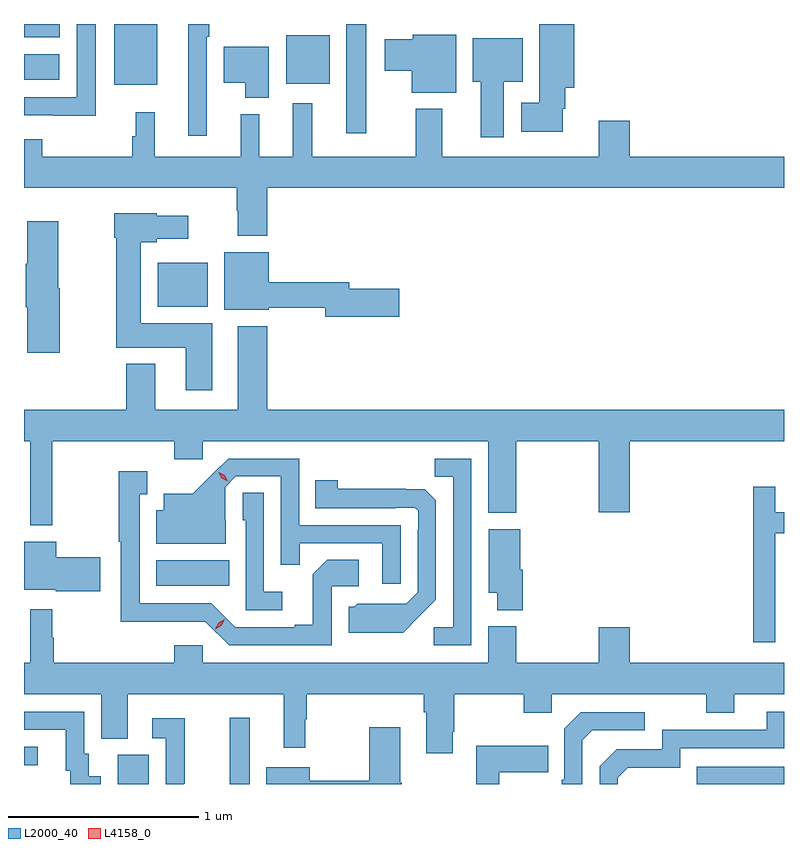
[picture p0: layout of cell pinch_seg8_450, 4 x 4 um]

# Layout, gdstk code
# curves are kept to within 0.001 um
import gdstk
lib = gdstk.Library(unit=1e-6, precision=1e-09)
def R(c, l, rs):  # rectangles x0, y0, x1, y1
    for r in rs: c.add(gdstk.rectangle(r[:2], r[2:], *l))
def P(c, l, *ps):  # polygons
    for p in ps: c.add(gdstk.Polygon(p, *l))
L2000_40 = (2000, 40)
L4158_0 = (4158, 0)

pinch_seg8_450 = lib.new_cell('pinch_seg8_450')
R(pinch_seg8_450, L2000_40, [(198.44,1138.671,198.604,1138.824), (199.031,1138.671,199.135,1139.02), (201.487,1138.671,201.947,1138.761), (197.947,1138.77,198.019,1138.866), (198.644,1139.714,199.028,1139.848), (198.65,1141.184,198.913,1141.414), (199.643,1142.097,199.747,1142.671), (198.422,1142.351,198.649,1142.671), (199.328,1142.357,199.555,1142.611), (197.947,1142.378,198.133,1142.512), (197.947,1142.6,198.136,1142.671)])
P(pinch_seg8_450, L2000_40, [(198.325,1142.671),(198.224,1142.671),(198.224,1142.286),(197.947,1142.286),(197.947,1142.19),(198.102,1142.19),(198.102,1142.189),(198.325,1142.189)],
  [(200.782,1142.225),(200.795,1142.225),(200.795,1142.336),(200.842,1142.336),(200.842,1142.671),(200.66,1142.671),(200.66,1142.257),(200.565,1142.257),(200.565,1142.105),(200.782,1142.105)],
  [(198.909,1142.603),(198.922,1142.603),(198.922,1142.671),(198.812,1142.671),(198.812,1142.082),(198.909,1142.082)],
  [(200.221,1142.614),(199.992,1142.614),(199.992,1142.59),(199.845,1142.59),(199.845,1142.425),(199.988,1142.425),(199.988,1142.309),(200.221,1142.309)],
  [(200.473,1142.366),(200.572,1142.366),(200.572,1142.596),(200.309,1142.596),(200.309,1142.366),(200.351,1142.366),(200.351,1142.076),(200.473,1142.076)],
  [(199.234,1142.551),(198.998,1142.551),(198.998,1142.363),(199.112,1142.363),(199.112,1142.282),(199.234,1142.282)],
  [(199.226,1141.808),(201.947,1141.808),(201.947,1141.972),(201.136,1141.972),(201.136,1142.161),(200.972,1142.161),(200.972,1141.972),(200.149,1141.972),(200.149,1142.224),(200.009,1142.224),(200.009,1141.972),(199.465,1141.972),(199.465,1142.254),(199.361,1142.254),(199.361,1141.972),(199.186,1141.972),(199.186,1142.197),(199.088,1142.197),(199.088,1141.972),(198.635,1141.972),(198.635,1142.206),(198.536,1142.206),(198.536,1142.081),(198.517,1142.081),(198.517,1141.972),(198.044,1141.972),(198.044,1142.065),(197.947,1142.065),(197.947,1141.808),(199.066,1141.808),(199.066,1141.688),(199.073,1141.688),(199.073,1141.556),(199.226,1141.556)],
  [(198.937,1141.096),(198.562,1141.096),(198.562,1141.523),(198.645,1141.523),(198.645,1141.541),(198.811,1141.541),(198.811,1141.663),(198.645,1141.663),(198.645,1141.675),(198.422,1141.675),(198.422,1141.545),(198.433,1141.545),(198.433,1140.968),(198.797,1140.968),(198.797,1140.744),(198.937,1140.744)],
  [(198.136,1141.281),(198.126,1141.281),(198.126,1141.633),(197.963,1141.633),(197.963,1141.409),(197.956,1141.409),(197.956,1141.181),(197.963,1141.181),(197.963,1140.941),(198.136,1140.941)],
  [(199.921,1141.277),(199.66,1141.277),(199.66,1141.313),(199.234,1141.313),(199.234,1141.471),(199.001,1141.471),(199.001,1141.166),(199.234,1141.166),(199.234,1141.177),(199.532,1141.177),(199.532,1141.13),(199.921,1141.13)],
  [(198.095,1140.476),(198.737,1140.476),(198.737,1140.381),(198.888,1140.381),(198.888,1140.476),(200.39,1140.476),(200.39,1140.098),(200.538,1140.098),(200.538,1140.476),(200.972,1140.476),(200.972,1140.102),(201.136,1140.102),(201.136,1140.476),(201.947,1140.476),(201.947,1140.64),(199.226,1140.64),(199.226,1141.081),(199.073,1141.081),(199.073,1140.64),(198.637,1140.64),(198.637,1140.883),(198.485,1140.883),(198.485,1140.64),(197.947,1140.64),(197.947,1140.476),(197.981,1140.476),(197.981,1140.032),(198.095,1140.032)],
  [(200.301,1140.384),(200.11,1140.384),(200.11,1140.289),(200.205,1140.289),(200.205,1139.496),(200.103,1139.496),(200.103,1139.4),(200.301,1139.4)],
  [(199.929,1140.033),(199.395,1140.033),(199.395,1140.384),(199.022,1140.384),(198.835,1140.199),(198.683,1140.199),(198.683,1140.112),(198.644,1140.112),(198.644,1139.936),(199.009,1139.936),(199.009,1140.06),(199.005,1140.06),(199.005,1140.234),(199.062,1140.291),(199.299,1140.291),(199.299,1139.824),(199.397,1139.824),(199.397,1139.937),(199.833,1139.937),(199.833,1139.724),(199.929,1139.724)],
  [(199.566,1139.712),(199.708,1139.712),(199.708,1139.852),(199.543,1139.852),(199.467,1139.776),(199.467,1139.509),(199.373,1139.509),(199.373,1139.496),(199.059,1139.496),(198.933,1139.622),(198.556,1139.622),(198.556,1140.195),(198.595,1140.195),(198.595,1140.316),(198.445,1140.316),(198.445,1139.947),(198.455,1139.947),(198.455,1139.525),(198.9,1139.526),(199.026,1139.4),(199.566,1139.4)],
  [(200.023,1139.549),(200.115,1139.642),(200.115,1140.164),(200.056,1140.223),(199.599,1140.224),(199.599,1140.271),(199.48,1140.271),(199.48,1140.123),(199.904,1140.123),(199.904,1140.126),(200.004,1140.126),(200.022,1140.108),(200.022,1140.008),(200.019,1140.008),(200.019,1139.679),(199.959,1139.619),(199.702,1139.62),(199.686,1139.604),(199.655,1139.604),(199.655,1139.468),(199.943,1139.468)],
  [(201.9,1139.991),(201.947,1139.991),(201.947,1140.1),(201.901,1140.1),(201.901,1140.235),(201.784,1140.235),(201.784,1139.418),(201.9,1139.418)],
  [(199.306,1139.683),(199.209,1139.683),(199.209,1140.203),(199.098,1140.203),(199.098,1140.06),(199.113,1140.06),(199.113,1139.586),(199.306,1139.586)],
  [(200.573,1139.799),(200.56,1139.799),(200.56,1140.013),(200.393,1140.013),(200.393,1139.678),(200.438,1139.678),(200.438,1139.585),(200.573,1139.585)],
  [(198.349,1139.864),(198.118,1139.864),(198.118,1139.947),(197.947,1139.947),(197.947,1139.693),(198.114,1139.693),(198.114,1139.686),(198.349,1139.686)],
  [(200.203,1138.945),(200.211,1138.945),(200.211,1139.144),(200.578,1139.144),(200.578,1139.045),(200.724,1139.045),(200.724,1139.144),(201.538,1139.144),(201.538,1139.045),(201.685,1139.045),(201.685,1139.144),(201.947,1139.144),(201.947,1139.308),(201.136,1139.308),(201.136,1139.497),(200.972,1139.497),(200.972,1139.308),(200.538,1139.308),(200.538,1139.5),(200.39,1139.5),(200.39,1139.308),(198.888,1139.308),(198.888,1139.401),(198.737,1139.401),(198.737,1139.308),(198.103,1139.308),(198.103,1139.441),(198.095,1139.441),(198.095,1139.59),(197.981,1139.59),(197.981,1139.308),(197.947,1139.308),(197.947,1139.144),(198.353,1139.144),(198.353,1138.909),(198.493,1138.909),(198.493,1139.144),(199.313,1139.144),(199.313,1138.863),(199.427,1138.863),(199.427,1139.012),(199.435,1139.012),(199.435,1139.144),(200.051,1139.144),(200.051,1139.048),(200.063,1139.048),(200.063,1138.833),(200.203,1138.833)],
  [(201.072,1138.704),(201.125,1138.757),(201.402,1138.757),(201.402,1138.86),(201.947,1138.86),(201.947,1139.052),(201.857,1139.052),(201.857,1138.956),(201.306,1138.956),(201.306,1138.854),(201.066,1138.854),(200.976,1138.764),(200.976,1138.671),(201.072,1138.671)],
  [(198.352,1138.711),(198.289,1138.711),(198.289,1138.83),(198.264,1138.83),(198.264,1139.052),(197.947,1139.052),(197.947,1138.956),(198.167,1138.956),(198.167,1138.74),(198.191,1138.74),(198.191,1138.671),(198.352,1138.671)],
  [(200.886,1138.902),(200.937,1138.953),(201.214,1138.953),(201.214,1139.049),(200.877,1139.049),(200.79,1138.962),(200.79,1138.693),(200.778,1138.693),(200.778,1138.671),(200.886,1138.671)],
  [(198.789,1138.672),(198.792,1138.672),(198.792,1139.017),(198.621,1139.017),(198.621,1138.911),(198.693,1138.911),(198.693,1138.671),(198.789,1138.671)],
  [(199.935,1138.677),(199.927,1138.677),(199.927,1138.969),(199.765,1138.969),(199.765,1138.689),(199.45,1138.689),(199.45,1138.759),(199.223,1138.759),(199.223,1138.671),(199.935,1138.671)],
  [(200.449,1138.733),(200.705,1138.733),(200.705,1138.873),(200.328,1138.873),(200.328,1138.671),(200.449,1138.671)])
P(pinch_seg8_450, L4158_0, [(199.02,1140.265),(198.989,1140.28),(198.972,1140.31),(198.972,1140.311),(198.972,1140.311),(199.003,1140.295),(199.02,1140.265),(199.02,1140.265)],
  [(198.954,1139.486),(198.954,1139.487),(198.972,1139.519),(199.004,1139.538),(199.004,1139.538),(199.004,1139.537),(198.986,1139.505),(198.954,1139.486)])

lib.write_gds('pinch_seg8_450.gds')
